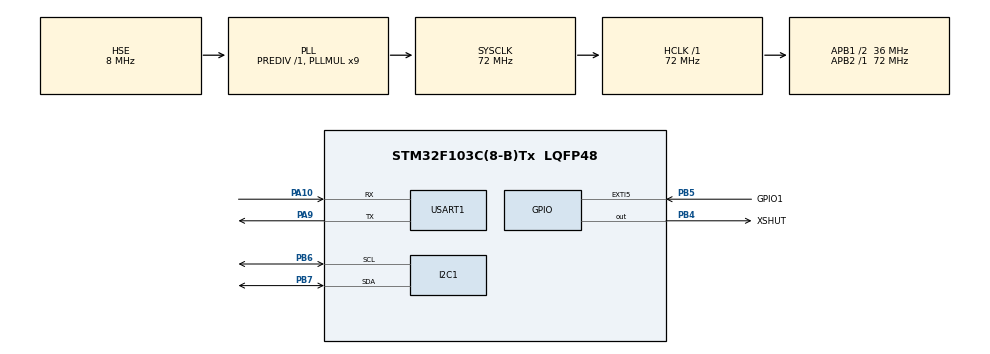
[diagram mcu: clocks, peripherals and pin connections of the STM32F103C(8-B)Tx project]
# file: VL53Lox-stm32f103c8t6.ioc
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I2C1.I2C_Mode=I2C_Fast
Mcu.Family=STM32F1
Mcu.Name=STM32F103C(8-B)Tx
Mcu.Package=LQFP48
NVIC.EXTI9_5_IRQn=true\:0\:0\:false\:false\:true\:true\:true\:true
NVIC.PriorityGroup=NVIC_PRIORITYGROUP_4
PA10.Mode=Asynchronous
PA10.Signal=USART1_RX
PA13.Mode=Serial_Wire
PA13.Signal=SYS_JTMS-SWDIO
PA14.Mode=Serial_Wire
PA14.Signal=SYS_JTCK-SWCLK
PA9.Mode=Asynchronous
PA9.Signal=USART1_TX
PB4.GPIO_Label=XSHUT
PB4.PinState=GPIO_PIN_SET
PB4.Signal=GPIO_Output
PB5.GPIO_Label=GPIO1
PB5.GPIO_ModeDefaultEXTI=GPIO_MODE_IT_FALLING
PB5.GPIO_PuPd=GPIO_PULLUP
PB5.Signal=GPXTI5
PB6.Mode=I2C
PB6.Signal=I2C1_SCL
PB7.Mode=I2C
PB7.Signal=I2C1_SDA
PD0-OSC_IN.Mode=HSE-External-Oscillator
PD0-OSC_IN.Signal=RCC_OSC_IN
PD1-OSC_OUT.Mode=HSE-External-Oscillator
PD1-OSC_OUT.Signal=RCC_OSC_OUT
ProjectManager.HeapSize=0x200
ProjectManager.StackSize=0x400
ProjectManager.TargetToolchain=STM32CubeIDE
RCC.AHBFreq_Value=72000000
RCC.APB1CLKDivider=RCC_HCLK_DIV2
RCC.APB1Freq_Value=36000000
RCC.APB1TimFreq_Value=72000000
RCC.APB2Freq_Value=72000000
RCC.APB2TimFreq_Value=72000000
RCC.HCLKFreq_Value=72000000
RCC.PLLMUL=RCC_PLL_MUL9
RCC.PLLSourceVirtual=RCC_PLLSOURCE_HSE
RCC.SYSCLKFreq_VALUE=72000000
RCC.SYSCLKSource=RCC_SYSCLKSOURCE_PLLCLK
RCC.USBFreq_Value=72000000
USART1.VirtualMode=VM_ASYNC
board=custom

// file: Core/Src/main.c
/* USER CODE BEGIN Header */
/**
  ******************************************************************************
  * @file           : main.c
  * @brief          : Main program body
  ******************************************************************************
  * @attention
  *
  * Copyright (c) 2022 STMicroelectronics.
  * All rights reserved.
  *
  * This software is licensed under terms that can be found in the LICENSE file
  * in the root directory of this software component.
  * If no LICENSE file comes with this software, it is provided AS-IS.
  *
  ******************************************************************************
  */
/* USER CODE END Header */
#include "main.h"
#include "i2c.h"
#include "usart.h"
#include "gpio.h"

/* USER CODE BEGIN Includes */
	#include <string.h>
	#include "stdio.h"
	#include "i2c_techmaker_sm.h"
/* USER CODE END Includes */

/* USER CODE BEGIN PD */
	#define		UART_DEBUG &huart1
/* USER CODE END PD */

void SystemClock_Config(void);
/* USER CODE BEGIN PFP */

	void UartDebug(char* _text) ;
	void Scan_I2C_to_UART(void) ;
/* USER CODE END PFP */

int main(void)
{

  /* MCU Configuration--------------------------------------------------------*/

  /* Reset of all peripherals, Initializes the Flash interface and the Systick. */
  HAL_Init();

  /* Configure the system clock */
  SystemClock_Config();

  /* Initialize all configured peripherals */
  MX_GPIO_Init();
  MX_I2C1_Init();
  MX_USART1_UART_Init();
  /* USER CODE BEGIN 2 */
	char		debugString[0XFF]	= { 0 } ;
	sprintf(debugString,"\r\n\r\n\tVL-53-LOX stm32f103c8t6 \r\n" ) ;
	UartDebug(debugString);
	#define 	DATE_as_int_str 	(__DATE__)
	#define 	TIME_as_int_str 	(__TIME__)
	sprintf(debugString,"\tBuild: %s. Time: %s.\r\n" ,	DATE_as_int_str , TIME_as_int_str ) ;
	UartDebug(debugString);

	I2Cdev_init(&hi2c1);
	I2C_ScanBusFlow(&hi2c1, &huart1);

	#define ADR	0x29
	uint8_t vl53[10]  ={0};

	I2Cdev_readBytes( ADR, 0 , 4,vl53, 100);
	sprintf(debugString,"0x00: %d %d %d %d\r\n" ,	vl53[0], vl53[1],vl53[2],vl53[3] ) ;
	UartDebug(debugString);

	I2Cdev_readBytes( ADR, 0xA , 4,vl53, 100);
	sprintf(debugString,"0x0A: %d %d %d %d\r\n" ,	vl53[0], vl53[1],vl53[2],vl53[3]  ) ;
	UartDebug(debugString);

	I2Cdev_readBytes( ADR, 0x8A , 4,vl53, 100);
	sprintf(debugString,"I2C adr: %x %d %d %d\r\n" ,	vl53[0], vl53[1],vl53[2],vl53[3]  ) ;
	UartDebug(debugString);

	I2Cdev_readBytes( ADR, 0xC0 , 4,vl53, 100);
	sprintf(debugString,"MODEL_ID: %x %d %d %d\r\n" ,	vl53[0], vl53[1],vl53[2],vl53[3]  ) ;
	UartDebug(debugString);

	I2Cdev_readBytes( ADR, 0xC2 , 4,vl53, 100);
	sprintf(debugString,"REVISION_ID: %x %d %d %d\r\n" ,	vl53[0], vl53[1],vl53[2],vl53[3]  ) ;
	UartDebug(debugString);

//	I2Cdev_readBytes( ADR, 0x8A , 4,vl53, 100);
//	sprintf(debugString,"I2C adr: %x %d %d %d\r\n" ,	vl53[0], vl53[1],vl53[2],vl53[3]  ) ;
//	UartDebug(debugString);

	//Scan_I2C_to_UART();
	//HAL_Delay(100);

  /* USER CODE END 2 */

  /* Infinite loop */
  /* USER CODE BEGIN WHILE */
  while (1)
  {
		uint8_t value[0xFF]  ={0};
		I2Cdev_readBytes( ADR, 0 , 0xff, value, 100);
	  for (int i=50; i<100; i++) {
			sprintf(debugString,"%02x " ,value[i] ) ;
			UartDebug(debugString);
	  }
	  sprintf(debugString,"\r" ) ;
	  			UartDebug(debugString);
	  HAL_Delay(100);

    /* USER CODE END WHILE */

  }
}

void SystemClock_Config(void)
{
  RCC_OscInitTypeDef RCC_OscInitStruct = {0};
  RCC_ClkInitTypeDef RCC_ClkInitStruct = {0};

  /** Initializes the RCC Oscillators according to the specified parameters
  * in the RCC_OscInitTypeDef structure.
  */
  RCC_OscInitStruct.OscillatorType = RCC_OSCILLATORTYPE_HSE;
  RCC_OscInitStruct.HSEState = RCC_HSE_ON;
  RCC_OscInitStruct.HSEPredivValue = RCC_HSE_PREDIV_DIV1;
  RCC_OscInitStruct.HSIState = RCC_HSI_ON;
  RCC_OscInitStruct.PLL.PLLState = RCC_PLL_ON;
  RCC_OscInitStruct.PLL.PLLSource = RCC_PLLSOURCE_HSE;
  RCC_OscInitStruct.PLL.PLLMUL = RCC_PLL_MUL9;
  if (HAL_RCC_OscConfig(&RCC_OscInitStruct) != HAL_OK)
  {
    Error_Handler();
  }

  /** Initializes the CPU, AHB and APB buses clocks
  */
  RCC_ClkInitStruct.ClockType = RCC_CLOCKTYPE_HCLK|RCC_CLOCKTYPE_SYSCLK
                              |RCC_CLOCKTYPE_PCLK1|RCC_CLOCKTYPE_PCLK2;
  RCC_ClkInitStruct.SYSCLKSource = RCC_SYSCLKSOURCE_PLLCLK;
  RCC_ClkInitStruct.AHBCLKDivider = RCC_SYSCLK_DIV1;
  RCC_ClkInitStruct.APB1CLKDivider = RCC_HCLK_DIV2;
  RCC_ClkInitStruct.APB2CLKDivider = RCC_HCLK_DIV1;

  if (HAL_RCC_ClockConfig(&RCC_ClkInitStruct, FLASH_LATENCY_2) != HAL_OK)
  {
    Error_Handler();
  }
}

/* USER CODE BEGIN 4 */
void UartDebug(char* _text) {
	HAL_UART_Transmit(UART_DEBUG, (uint8_t*)_text, strlen(_text), 100);
} //***********************************************************************

void Scan_I2C_to_UART(void ) {
	char DataChar[100];
	int device_serial_numb = 0;

	sprintf(DataChar,"Start scan I2C:\r\n" ) ;
	HAL_UART_Transmit(UART_DEBUG, (uint8_t *)DataChar, strlen(DataChar), 1000 ) ;

	for ( int device_i2c_address_int = 0x07; device_i2c_address_int < 0x78; device_i2c_address_int++) {
		if (HAL_I2C_IsDeviceReady( &hi2c1 , device_i2c_address_int << 1, 10, 100) == HAL_OK) {

			switch (device_i2c_address_int) {
				case 0x23: sprintf(DataChar,"%d) BH1750", device_serial_numb ); break;
				case 0x27: sprintf(DataChar,"%d) FC113 ", device_serial_numb ); break;
				case 0x29: sprintf(DataChar,"%d) VL53LOX", device_serial_numb ); break;
				case 0x38: sprintf(DataChar,"%d) PCF8574", device_serial_numb ); break;
				//case 0x57: sprintf(DataChar,"%d) AT24C32", device_serial_numb ); break;
				case 0x57: sprintf(DataChar,"%d) MAX30100", device_serial_numb ); break;
				case 0x68: sprintf(DataChar,"%d) DS3231", device_serial_numb ); break;
				//case 0x68: sprintf(DataChar_I2C,"%d) MPU9250", device_serial_numb ); break;
				case 0x76: sprintf(DataChar,"%d) BMP280", device_serial_numb ); break;
				case 0x77: sprintf(DataChar,"%d) BMP180", device_serial_numb ); break;
				default:   sprintf(DataChar,"%d) Unknown", device_serial_numb ); break;
			}// end switch
			device_serial_numb++;

			char DataChar2[150];
			sprintf(DataChar2,"%s\tAdr: 0x%x 0x%x\r\n", DataChar, device_i2c_address_int, (device_i2c_address_int<<1) ) ;
			HAL_UART_Transmit(UART_DEBUG, (uint8_t *)DataChar2, strlen(DataChar2), 1000 ) ;

		} //end if HAL I2C1
	} // end for device_i2c_address_int i2c1
	sprintf(DataChar,"End scan I2C.\r\n" ) ;
	HAL_UART_Transmit(UART_DEBUG, (uint8_t *)DataChar, strlen(DataChar), 1000 ) ;
}
//======================================================================

/* USER CODE END 4 */

void Error_Handler(void)
{
  __disable_irq();
  while (1)
  {
  }
}
